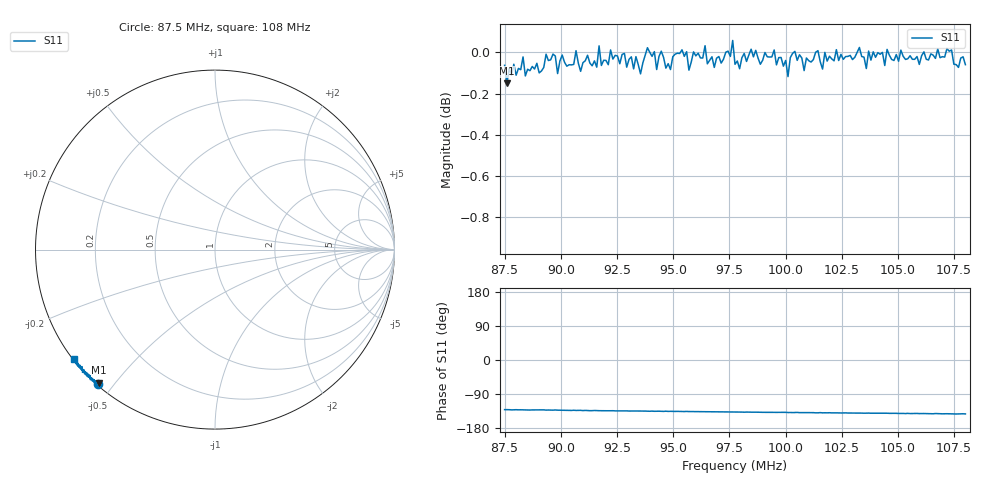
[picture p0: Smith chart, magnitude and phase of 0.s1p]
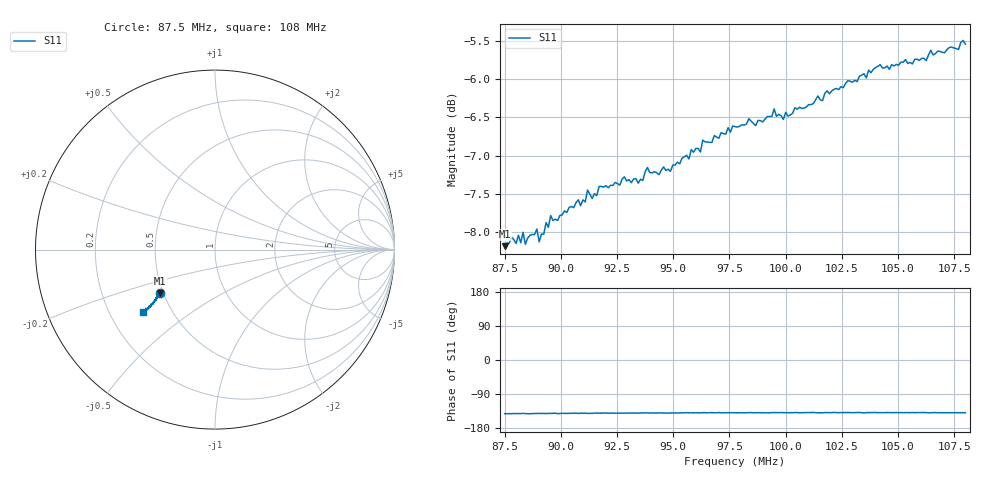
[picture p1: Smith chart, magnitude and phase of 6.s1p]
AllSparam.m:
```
222%%%%%%%%%%%%%%%%%%%%%%%%%%%%%%%%%%%%%%%%%%%%%%%%%%%%%%%
%     Spiros Daskalakis                               %
%     last Revision 11/7/2017                         %
%%%%%%%%%%%%%%%%%%%%%%%%%%%%%%%%%%%%%%%%%%%%%%%%%%%%%%%
clc; 
close all; 
clear all;



%%

figure(5)
smithchart();
hold on;

S0=sparameters('0.s1p');
s11_0=rfparam(S0,1,1);
[~,idx_0]=min(abs(S0.Frequencies-95802500));
plot(s11_0);




S6=sparameters('6.s1p');
s11_6=rfparam(S6,1,1);
[~,idx_6]=min(abs(S6.Frequencies-95802500));
plot(s11_6);

S7=sparameters('7.s1p');
s11_7=rfparam(S7,1,1);
[~,idx_7]=min(abs(S7.Frequencies-95802500));
plot(s11_7);




S14=sparameters('14.s1p');
s11_14=rfparam(S14,1,1);
[~,idx_14]=min(abs(S14.Frequencies-95802500))
plot(s11_14)



s11_0(idx_0)
s11_6(idx_6)
s11_7(idx_7)
s11_14(idx_14)

plot(s11_0(idx_0),'*r');

plot(s11_6(idx_6),'*r');
plot(s11_7(idx_7),'*r');
plot(s11_14(idx_14),'*r')



title('S-Parameters P_{in}=-20 dBm 87.5 - 108 MHz');
legend('0','6', '7', '14')
```
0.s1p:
!Agilent Technologies,N5225A,MY51441201,A.09.90.19
!Agilent N5225A: A.09.90.19
!Date: Wednesday, April 25, 2018 14:38:58
!Correction: S11(Full 1 Port(1))
!S1P File: Measurement: S11:
# Hz S  dB  R 50
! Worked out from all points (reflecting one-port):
!   201 points, 87.5 MHz to 108 MHz, reference 50 ohm
!   lowest |S11| = -0.2 dB at 87.6 MHz (marker M1), VSWR 115.17, Z = 0.524 - j22.8 ohm
!   phase of S11 starts at -131 deg and turns -11 deg over the sweep
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8.75e7  -0.06 -131.0
8.76025e7  -0.15 -131.0
8.9755e7  -0.02 -131.9
8.98575e7  -0.10 -132.4
9.17025e7  0.03 -133.8
9.43675e7  -0.02 -135.1
9.76475e7  0.06 -137.2
9.7955e7  -0.08 -137.5
9.86725e7  0.01 -137.4
9.88775e7  -0.06 -138.0
1.00005e8  -0.04 -138.1
1.001075e8  -0.12 -138.6
1.01235e8  -0.03 -139.0
1.08e8  -0.06 -142.3
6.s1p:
!Agilent Technologies,N5225A,MY51441201,A.09.90.19
!Agilent N5225A: A.09.90.19
!Date: Wednesday, April 25, 2018 14:37:01
!Correction: S11(Full 1 Port(1))
!S1P File: Measurement: S11:
# Hz S  dB  R 50
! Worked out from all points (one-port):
!   201 points, 87.5 MHz to 108 MHz, reference 50 ohm
!   lowest |S11| = -8.2 dB at 87.5 MHz (marker M1), VSWR 2.28, Z = 24.1 - j13.7 ohm
!   |S11| at or under -10 dB: nowhere
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8.75e7  -8.19 -141.6
8.8935e7  -7.96 -141.2
8.90375e7  -8.13 -140.9
8.955e7  -7.78 -141.0
9.10875e7  -7.61 -140.1
9.119e7  -7.45 -140.9
9.43675e7  -7.25 -139.5
9.74425e7  -6.64 -138.9
1.01235e8  -6.32 -138.4
1.01645e8  -6.28 -139.4
1.031825e8  -6.03 -138.6
1.0349e8  -5.93 -139.7
1.040025e8  -5.85 -138.5
1.08e8  -5.54 -139.1
